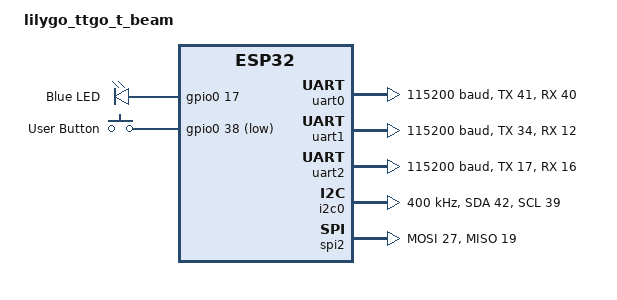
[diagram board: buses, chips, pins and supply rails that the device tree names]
/*
 *
 *
 * SPDX-License-Identifier: Apache-2.0
 */
/dts-v1/;

#include <espressif/esp32.dtsi>

/ {
	model = "lilygo_ttgo_t_beam";
	compatible = "espressif,esp32";

	aliases {
		uart-0 = &uart0;
		i2c-0 = &i2c0;
                led0 = &led0;
		sw0 = &button0;
	};

	leds {
		compatible = "gpio-leds";
		led0: led {
			gpios = <&gpio0 17 GPIO_ACTIVE_HIGH>;
			label = "Blue LED";
		};
        };

	buttons {
		compatible = "gpio-keys";
		button0: button_0 {
			gpios = < &gpio0 38 (GPIO_PULL_UP | \
			   GPIO_ACTIVE_LOW)>;
			label = "User Button";
		};
	};

	chosen {
		zephyr,sram = &sram0;
		zephyr,console = &uart0;
		zephyr,shell-uart = &uart0;
		zephyr,flash = &flash0;
	};
};


&cpu0 {
	clock-frequency = <ESP32_CLK_CPU_240M>;
};

&cpu1 {
	clock-frequency = <ESP32_CLK_CPU_240M>;
};

&uart0 {
	status = "okay";
	current-speed = <115200>;
	tx-pin = <41>;
	rx-pin = <40>;
};

&uart1 {
	current-speed = <115200>;
	tx-pin = <34>;
	rx-pin = <12>;
};

&uart2 {
	current-speed = <115200>;
	tx-pin = <17>;
	rx-pin = <16>;
};

&gpio0 {
	status = "okay";
};

&i2c0 {
	status = "okay";
	clock-frequency = <I2C_BITRATE_FAST>;
	sda-pin = <42>;
	scl-pin = <39>;
};

&spi2 {
	#address-cells = <1>;
	#size-cells = <0>;
	status = "okay";
	miso-pin = <19>;
	mosi-pin = <27>;
	sclk-pin = <5>;
	csel-pin = <18>;
};



&flash0 {
	status = "okay";
	partitions {
		compatible = "fixed-partitions";
		#address-cells = <1>;
		#size-cells = <1>;

		/* Reserve 60kB for the bootloader */
		boot_partition: partition@1000 {
			label = "mcuboot";
			reg = <0x00001000 0x0000F000>;
			read-only;
		};

		/* Reserve 1024kB for the application in slot 0 */
		slot0_partition: partition@10000 {
			label = "image-0";
			reg = <0x00010000 0x00100000>;
		};

		/* Reserve 1024kB for the application in slot 1 */
		slot1_partition: partition@110000 {
			label = "image-1";
			reg = <0x00110000 0x00100000>;
		};

		/* Reserve 256kB for the scratch partition */
		scratch_partition: partition@210000 {
			   label = "image-scratch";
			   reg = <0x00210000 0x00040000>;
		};

		storage_partition: partition@250000 {
			label = "storage";
			reg = <0x00250000 0x00006000>;
		};
	};
};
